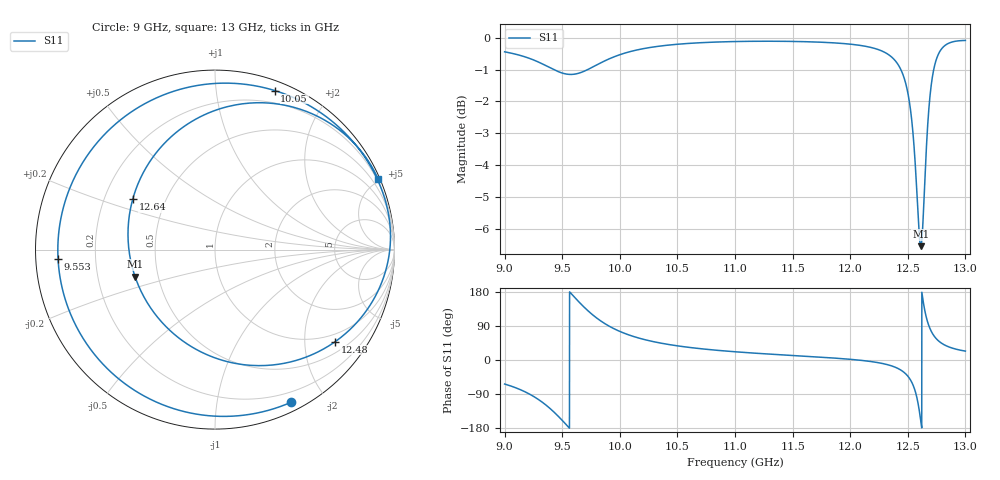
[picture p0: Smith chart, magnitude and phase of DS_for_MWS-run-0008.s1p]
! TOUCHSTONE file generated by CST DESIGN STUDIO
! Date and time: Wed Feb  5 13:21:53 2025
! Project name: C:\Work\MatlabApps\UnitCellOptimizationMatlab\CST\unitcell.cst
! Tree item: Tasks\Sweep1\SPara1\S-Parameters
! Header version: 2024
! Port assignment regex: !\s*Touchstone port\s*([0-9]+)\s*=\s*(CST MWS port|CST DES external port|CST DES block port)\s*(.+)\s* \(\"(.*)\"\)(\s*mode\s*([0-9]+))?.*
! Touchstone port assignment:
! Touchstone port 1 = CST DES external port 1 ("")
# GHz S MA R 50
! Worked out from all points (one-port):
!   4001 points, 9 GHz to 13 GHz, reference 50 ohm
!   lowest |S11| = -6.6 dB at 12.61 GHz (marker M1), VSWR 2.78, Z = 18.4 - j7.1 ohm
!   |S11| at or under -10 dB: nowhere
!   S11 on the Smith chart (normalised r, x): 9 GHz: 0.09, -1.62; 9.553 GHz: 0.07, -0.03; 10.05 GHz: 0.08, +1.44; 12.48 GHz: 0.77, -2.75; 12.64 GHz: 0.32, +0.26; 13 GHz: 0.12, +4.81
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9  0.9504 -63.4
9.151  0.9363 -80.2
9.301  0.9145 -105.8
9.401  0.8959 -129.7
9.5  0.88 -159.2
9.553  0.876 -176.6
9.643  0.8794 153.9
9.761  0.8987 120.0
9.865  0.9189 97.0
10  0.9404 75.4
10.049  0.9466 69.4
10.5  0.9767 37.4
11  0.9864 21.7
11.5  0.9868 11.9
12  0.9771 1.8
12.342  0.9382 -13.9
12.485  0.8433 -37.5
12.5  0.8198 -42.5
12.567  0.6231 -84.9
12.59  0.5232 -115.8
12.613  0.4702 -161.4
12.637  0.5378 148.4
12.663  0.6801 110.0
12.688  0.793 86.3
12.728  0.8965 63.5
12.772  0.9473 49.1
12.859  0.9811 34.2
13  0.9903 23.5
